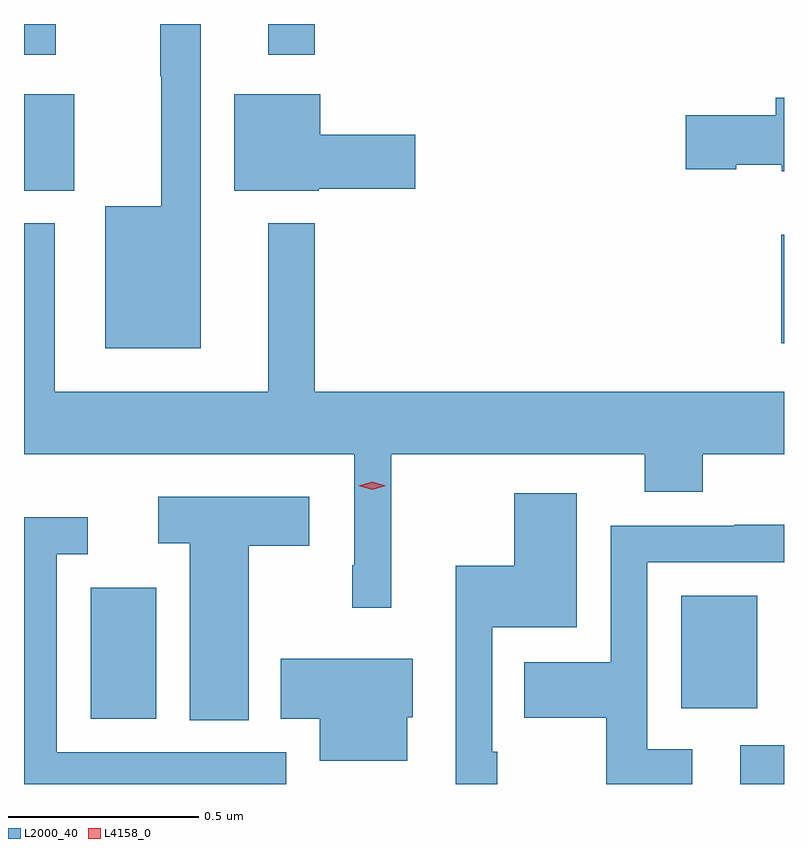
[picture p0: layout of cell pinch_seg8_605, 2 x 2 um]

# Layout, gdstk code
import gdstk
lib = gdstk.Library(unit=1e-6, precision=1e-09)
def R(c, l, rs):  # rectangles x0, y0, x1, y1
    for r in rs: c.add(gdstk.rectangle(r[:2], r[2:], *l))
def P(c, l, *ps):  # polygons
    for p in ps: c.add(gdstk.Polygon(p, *l))
L2000_40 = (2000, 40)
L4158_0 = (4158, 0)

pinch_seg8_605 = lib.new_cell('pinch_seg8_605')
R(pinch_seg8_605, L2000_40, [(132.401,1083.664,132.516,1083.766), (130.691,1083.836,130.864,1084.18), (132.245,1083.863,132.445,1084.159), (132.509,1084.824,132.516,1085.11), (130.516,1085.225,130.648,1085.479), (130.516,1085.583,130.6,1085.664), (131.159,1085.583,131.281,1085.664)])
P(pinch_seg8_605, L2000_40, [(130.981,1085.664),(130.875,1085.664),(130.875,1085.527),(130.877,1085.527),(130.877,1085.185),(130.73,1085.185),(130.73,1084.811),(130.981,1084.811)],
  [(131.292,1085.231),(131.545,1085.231),(131.545,1085.373),(131.296,1085.373),(131.296,1085.479),(131.069,1085.479),(131.069,1085.225),(131.292,1085.225)],
  [(132.516,1085.47),(132.494,1085.47),(132.494,1085.424),(132.258,1085.424),(132.258,1085.282),(132.39,1085.282),(132.39,1085.294),(132.51,1085.294),(132.51,1085.276),(132.516,1085.276)],
  [(131.482,1084.532),(132.149,1084.532),(132.149,1084.433),(132.302,1084.433),(132.302,1084.532),(132.516,1084.532),(132.516,1084.696),(131.281,1084.696),(131.281,1085.14),(131.159,1085.14),(131.159,1084.696),(130.597,1084.696),(130.597,1085.14),(130.516,1085.14),(130.516,1084.532),(131.385,1084.532),(131.385,1084.24),(131.38,1084.24),(131.38,1084.128),(131.482,1084.128)],
  [(131.761,1083.749),(131.748,1083.749),(131.748,1084.076),(131.971,1084.076),(131.971,1084.429),(131.806,1084.429),(131.806,1084.239),(131.652,1084.239),(131.652,1083.664),(131.761,1083.664)],
  [(131.107,1084.291),(131.266,1084.291),(131.266,1084.42),(130.869,1084.42),(130.869,1084.298),(130.952,1084.298),(130.952,1083.832),(131.107,1083.832)],
  [(131.206,1083.747),(130.602,1083.747),(130.602,1084.269),(130.684,1084.269),(130.684,1084.366),(130.516,1084.366),(130.516,1083.664),(131.206,1083.664)],
  [(132.274,1083.756),(132.156,1083.756),(132.156,1084.248),(132.516,1084.248),(132.516,1084.346),(132.385,1084.346),(132.385,1084.344),(132.06,1084.344),(132.06,1083.985),(131.833,1083.985),(131.833,1083.838),(132.048,1083.838),(132.048,1083.664),(132.274,1083.664)],
  [(131.524,1083.84),(131.539,1083.84),(131.539,1083.994),(131.192,1083.994),(131.192,1083.836),(131.294,1083.836),(131.294,1083.725),(131.524,1083.725)])
P(pinch_seg8_605, L4158_0, [(131.432,1084.439),(131.396,1084.449),(131.396,1084.449),(131.396,1084.449),(131.432,1084.459),(131.468,1084.449),(131.468,1084.449),(131.468,1084.449)])

lib.write_gds('pinch_seg8_605.gds')
